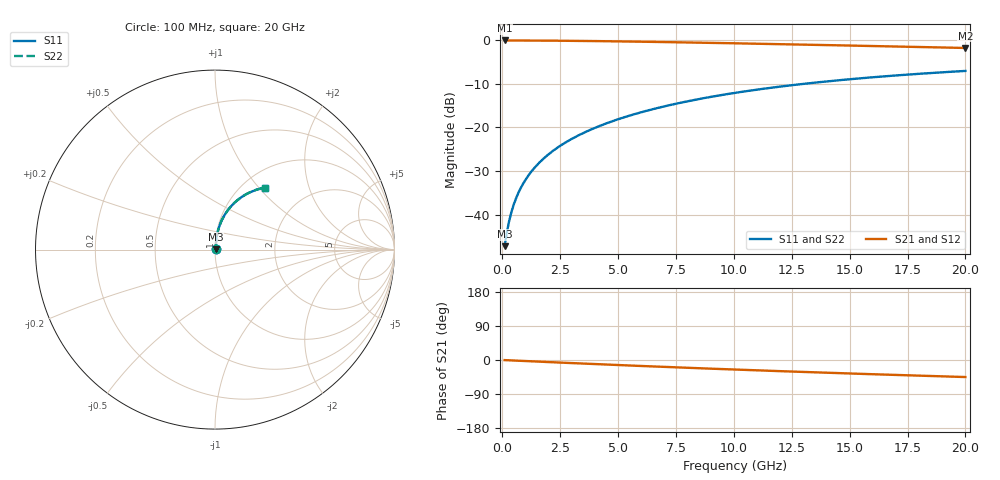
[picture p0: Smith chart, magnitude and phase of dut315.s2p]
! Touchstone file exported from HFSS 2024.1.0
!  File:  C:/UserFiles/LocalFiles/RDL_TSV_Batchsim/temp_RDL_bottom_315_1779610831.aedt
!  Generated:  04:22:57 PM May 24, 2026
!  Design:  RDL_bottom
!  Project:  temp_RDL_bottom_315_1779610831
!  Setup:  Setup1
!  Solution:  Sweep
! Variables:
!  dtsv = 10.80580581um
!  hbump = 3um
!  htsv = 50.6um
!  ldown = 616.1um
!  lrdl = 100um
!  p = 40
!  p1 = 52.85um
!  rhole = 1um
!  t = 450um
!  tdown = 3.57um
!  trdl = 3.915915916um
!  wdown = 18.5um
!  wrdl = 20um
# GHz S MA R 50.000000
! Terminal data exported
! Port[1] = RDL1_T1
! Port[2] = RDL1_T2
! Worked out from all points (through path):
!   200 points, 100 MHz to 20 GHz, reference 50 ohm
!   highest |S21| = -0.03 dB at 100 MHz (marker M1); lowest = -1.8 dB at 20 GHz (marker M2)
!   group delay of S21, straight-line fit = 6.21 ps
!   lowest |S11| = -47.3 dB at 100 MHz (marker M3), VSWR 1.01, Z = 50.3 + j0.263 ohm
!   |S11| at or under -10 dB: start of sweep to 13.01 GHz
!   |S22| runs from -47.3 to -7.0 dB; largest |S21 - S12| = 2.1e-15
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0.1  0.004331 37.0  0.9965 -0.3  0.9965 -0.3  0.004331 37.0
! Gamma 0 0 0 0
! Port Impedance 50 0 50 0
0.2  0.006287 55.2  0.9964 -0.6  0.9964 -0.6  0.006287 55.2
0.3  0.008521 63.9  0.9962 -0.8  0.9962 -0.8  0.008521 63.9
0.4  0.01082 68.9  0.996 -1.1  0.996 -1.1  0.01082 68.9
0.5  0.01315 72.1  0.9958 -1.4  0.9958 -1.4  0.01315 72.1
0.6  0.01549 74.3  0.9956 -1.7  0.9956 -1.7  0.01549 74.3
0.8  0.02021 77.3  0.9953 -2.2  0.9953 -2.2  0.02021 77.3
1.1  0.02736 79.8  0.9946 -3.0  0.9946 -3.0  0.02736 79.8
1.5  0.03701 81.4  0.9935 -4.1  0.9935 -4.1  0.03701 81.4
1.8  0.0443 82.0  0.9924 -4.9  0.9924 -4.9  0.04431 82.0
2.1  0.05164 82.3  0.9912 -5.7  0.9912 -5.7  0.05164 82.3
2.7  0.06641 82.3  0.9884 -7.3  0.9884 -7.3  0.06642 82.4
3.5  0.08631 81.8  0.9837 -9.5  0.9837 -9.5  0.08632 81.9
4.2  0.1039 81.1  0.9789 -11.3  0.9789 -11.3  0.1039 81.1
5  0.1241 79.9  0.9727 -13.3  0.9727 -13.3  0.1241 80.0
5.9  0.1468 78.5  0.9651 -15.5  0.9651 -15.5  0.1469 78.5
6.8  0.1696 76.9  0.9569 -17.7  0.9569 -17.7  0.1696 76.9
8.4  0.2094 73.7  0.9413 -21.5  0.9413 -21.5  0.2095 73.8
10.1  0.2505 70.3  0.9238 -25.3  0.9238 -25.3  0.2506 70.3
13.4  0.3246 63.5  0.8884 -32.4  0.8884 -32.4  0.3247 63.5
16.7  0.3896 56.9  0.8524 -38.9  0.8524 -38.9  0.3899 57.0
20  0.4453 50.9  0.8171 -45.0  0.8171 -45.0  0.4455 50.9
